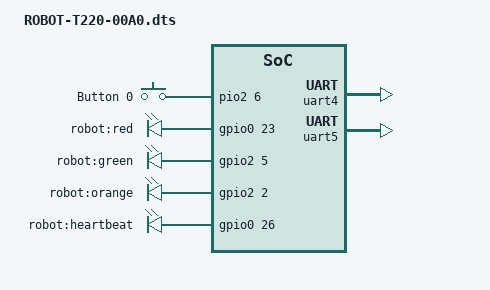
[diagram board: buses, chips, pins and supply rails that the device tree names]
/*
 * Copyright (C) 2013 CircuitCo
 *
 * Virtual cape for UART4 on connector pins P9.13 P9.11
 *
 * This program is free software; you can redistribute it and/or modify
 * it under the terms of the GNU General Public License version 2 as
 * published by the Free Software Foundation.
 */

/dts-v1/;
/plugin/;

#include <dt-bindings/board/am335x-bbw-bbb-base.h>
#include <dt-bindings/gpio/gpio.h>
#include <dt-bindings/pinctrl/am33xx.h>

/ {
	/*
	 * Helper to show loaded overlays under: /proc/device-tree/chosen/overlays/
	 */
	fragment@0 {
		target-path="/";
		__overlay__ {

			chosen {
				overlays {
					ROBOT-T220-00A0 = __TIMESTAMP__;
				};
			};
		};
	};

	/*
	 * Free up the pins used by the cape from the pinmux helpers.
	 */
	fragment@1 {
		target = <&ocp>;
		__overlay__ {
			P9_13_pinmux { status = "disabled"; };	/* uart4_txd */
			P9_11_pinmux { status = "disabled"; };	/* uart4_rxd */
            P8_33_pinmux { status = "disabled"; };	/* P8_33: mode 6 (uart4_rtsn) */
			P8_35_pinmux { status = "disabled"; };	/* P8_35: mode 6 (uart4_ctsn) */
            P8_37_pinmux { status = "disabled"; };	/* uart5_txd */
			P8_38_pinmux { status = "disabled"; };	/* uart5_rxd */
            P8_32_pinmux { status = "disabled"; };	/* P8_32: mode 6 (uart5_rtsn) */
			P8_31_pinmux { status = "disabled"; };	/* P8_31: mode 6 (uart5_ctsn) */
            P8_07_pinmux { status = "disabled"; };  /* CB_P1_07 ORANGE LED - GPIO2_2 timer4 */
            P8_09_pinmux { status = "disabled"; };  /* CB_P1_09 GREEN LED - GPIO2_5 timer5 */
            P8_13_pinmux { status = "disabled"; };  /* CB_P1_13 RED LED - GPIO0_23 EHRPWM2B*/
            P8_14_pinmux { status = "disabled"; };  /* CB_P1_14 LED HB - GPIO0_26 */
            P8_45_pinmux { status = "disabled"; };  /* CB_P1_45 BUTTON 0 - GPIO2_6 */
            P8_46_pinmux { status = "disabled"; };  /* CB_P1_46 BUTTON 1 - GPIO2_7 */
            P8_43_pinmux { status = "disabled"; };  /* CB_P1_43 BUTTON 2 - GPIO2_8 */
            P8_44_pinmux { status = "disabled"; };  /* CB_P1_44 BUTTON 3 - GPIO2_9 */
            P8_41_pinmux { status = "disabled"; };  /* CB_P1_41 BUTTON 4 - GPIO2_10 */
		};
	};

	fragment@2 {
		target = <&am33xx_pinmux>;
		__overlay__ {
			robot_uart4_pins: pinmux_robot_uart4_pins {
				pinctrl-single,pins = <
					BONE_P9_13 (PIN_OUTPUT | MUX_MODE6)	// gpmc_wpn.uart4_txd_mux2
					BONE_P9_11 (PIN_INPUT  | MUX_MODE6)	// gpmc_wait0.uart4_rxd_mux2
				>;
			};
            robot_u4_rtscts_pins: pinmux_u4_rtscts_pins {
				pinctrl-single,pins = <
					0x0d4 0x0e	/* P8_33: mode 6 (uart4_rtsn) */
					0x0d0 0x36	/* P8_35: mode 6 (uart4_ctsn) */
				>;
			};
            robot_uart5_pins: pinmux_bb_uart5_pins {
				pinctrl-single,pins = <
					BONE_P8_37 (PIN_OUTPUT | MUX_MODE4)	// lcd_data8.uart5_txd
					BONE_P8_38 (PIN_INPUT  | MUX_MODE4)	// lcd_data9.uart5_rxd
				>;
			};
            robot_u5_rtscts_pins: pinmux_u5_rtscts_pins {
				pinctrl-single,pins = <
					0x0dc 0x0e	/* P8_32: mode 6 (uart5_rtsn) */
					0x0d8 0x36	/* P8_31: mode 6 (uart5_ctsn) */
				>;
			};
            robot_led_pins: pinmux_led_pins {
                pinctrl-single,pins = <
                    BONE_P8_07 (PIN_OUTPUT | MUX_MODE7)
                    BONE_P8_09 (PIN_OUTPUT | MUX_MODE7)
                    BONE_P8_13 (PIN_OUTPUT | MUX_MODE7)
                    BONE_P8_14 (PIN_OUTPUT | MUX_MODE7)
                >;
            };
            robot_key_pins: pinmux_key_pins {
                pinctrl-single,pins = <
                    BONE_P8_45 (PIN_INPUT | MUX_MODE7)
                    BONE_P8_46 (PIN_INPUT | MUX_MODE7)
                    BONE_P8_43 (PIN_INPUT | MUX_MODE7)
                    BONE_P8_44 (PIN_INPUT | MUX_MODE7)
                    BONE_P8_41 (PIN_INPUT | MUX_MODE7)
                >;
            };
		};
	};

	fragment@3 {
		target = <&uart4>;
		__overlay__ {
			status = "okay";
			pinctrl-names = "default";
			pinctrl-0 = <&robot_uart4_pins>;
		};
	};

    fragment@4 {
		target = <&uart5>;
		__overlay__ {
			status = "okay";
			pinctrl-names = "default";
			pinctrl-0 = <&robot_uart5_pins>;
		};
	};

    fragment@5 {
		target = <&ocp>; /* On-Chip Peripherals */
		__overlay__ {
            uart4-rtscts-pinmux {
				compatible = "bone-pinmux-helper"; /* Use the pinmux helper */
				status="okay";
				/* Define custom names for indexes in pinctrl array: */
				pinctrl-names = "default";
				/* Set the elements of the pinctrl array to the pinmux overlays
				defined above: */
				pinctrl-0 = <&robot_u4_rtscts_pins>;
			};
			uart5-rtscts-pinmux {
				compatible = "bone-pinmux-helper"; /* Use the pinmux helper */
				status="okay";
				/* Define custom names for indexes in pinctrl array: */
				pinctrl-names = "default";
				/* Set the elements of the pinctrl array to the pinmux overlays
				defined above: */
				pinctrl-0 = <&robot_u5_rtscts_pins>;
			};
		};
	};

 
    fragment@6 {
		target-path = "/";
        __overlay__ {
    
            keys {
                compatible = "gpio-keys";
                pinctrl-names = "default";
                pinctrl-0 = <&robot_key_pins>;
                status = "okay";

                button@0 {
                    debounce_interval = <50>;
                    label = "Button 0";
                    gpios = <&pio2 6 0x0>;
                    linux,code = <59>;
                    gpio-key,wakeup;
                    autorepeat;
                };
/*
                button@1 {
                    debounce_interval = <50>;
                    label = "robot:btn1";
                    gpios = <&pio2 7 GPIO_ACTIVE_LOW>;
                    linux,code = <60>;
                    gpio-key,wakeup;
                    autorepeat;
                };

                button@2 {
                    debounce_interval = <50>;
                    label = "Button 2";
                    gpios = <&pio2 8 GPIO_ACTIVE_LOW>;
                    linux,code = <61>;
                    gpio-key,wakeup;
                };

                button@3 {
                    debounce_interval = <50>;
                    label = "Button 3";
                    gpios = <&pio2 9 GPIO_ACTIVE_LOW>;
                    linux,code = <62>;
                    gpio-key,wakeup;
                };

                ROBOT_KEY_4 {
                    debounce_interval = <50>;
                    gpios = <&pio2 10 GPIO_ACTIVE_HIGH>;
                    label = "robot:btn:4";
                    linux,code = <0x100>;
                    gpio-key,wakeup;
					autorepeat;
                }; */
            };

            leds {
                pinctrl-names = "default";
                pinctrl-0 = <&robot_led_pins>;
                compatible = "gpio-leds";

                ROBOT_RED {
                    label = "robot:red";
                    gpios = <&gpio0 23 GPIO_ACTIVE_HIGH>;
                    default-state = "off";
                };

                ROBOT_GREEN {
                    label = "robot:green";
                    gpios = <&gpio2 5 GPIO_ACTIVE_HIGH>;
                    default-state = "off";
                };

                ROBOT_ORANGE {
                    label = "robot:orange";
                    gpios = <&gpio2 2 GPIO_ACTIVE_HIGH>;
                    default-state = "off";
                };

                ROBOT_HEARTBEAT {
                    label = "robot:heartbeat";
                    gpios = <&gpio0 26 GPIO_ACTIVE_HIGH>;
                    linux,default-trigger = "heartbeat";
                };
            };
        };
    };
};
